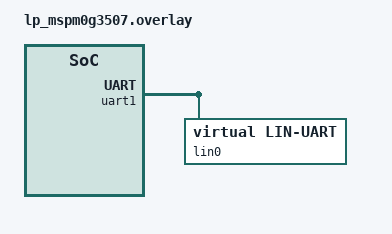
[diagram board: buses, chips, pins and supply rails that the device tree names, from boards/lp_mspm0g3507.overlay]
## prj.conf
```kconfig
CONFIG_SYS_CLOCK_TICKS_PER_SEC=1000

CONFIG_LIN=y

CONFIG_LOG=y
CONFIG_LOG_DEFAULT_LEVEL=3
CONFIG_LIN_LOG_LEVEL_DBG=y
CONFIG_LOG_MODE_IMMEDIATE=n
CONFIG_LOG_PROCESS_TRIGGER_THRESHOLD=0
CONFIG_LOG_PROCESS_THREAD_SLEEP_MS=100

CONFIG_UART_USE_RUNTIME_CONFIGURE=y
```

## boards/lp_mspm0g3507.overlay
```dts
&uart1 {
    lin0: lin0 {
        compatible = "virtual,lin-uart";
        status = "okay";
        bitrate = <19200>;
        max-wait-percent = <150>;
    };
};
```

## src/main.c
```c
#include <zephyr/kernel.h>
#include <zephyr/logging/log.h>
#include <zephyr/drivers/lin.h>
LOG_MODULE_REGISTER(main, CONFIG_LOG_DEFAULT_LEVEL);

// #define LIN1_NODE	DT_NODELABEL(lin0)

static const struct device *dev = DEVICE_DT_GET(DT_NODELABEL(lin0));

// static const struct device *dev = DEVICE_DT_GET(LIN1_NODE);
static struct k_sem lock;

static void print_msg(const struct lin_frame *msg) {
    LOG_INF("id=0x%x, checksum=%d, len=%d", msg->id, msg->type, msg->len);
    LOG_HEXDUMP_INF(msg->data, msg->len, "data=");
}

static int header_cb(const struct device *dev, struct lin_frame *msg, void *data) {
    switch (msg->id) {
        case 0x00:
            msg->type = LIN_CHECKSUM_ENHANCED;
            msg->len = 2;
            msg->data[0] = 0x69;
            msg->data[1] = 0x42;
            return LIN_ACTION_SEND;
            break;

        case 0x01:
            msg->type = LIN_CHECKSUM_AUTO;
            msg->len = 0;
            return LIN_ACTION_RECEIVE;
            break;
    }
    k_sem_give(&lock);
    return LIN_ACTION_NONE;
}

static void tx_cb(const struct device *dev, int error, void *data) {
    if (error) {
        LOG_ERR("tx error %d", error);
    } else {
        LOG_INF("tx done %p", data);
    }
    k_sem_give(&lock);
}

static void rx_cb(const struct device *dev, int error, const struct lin_frame *msg, void *data) {
    if (error) {
        LOG_ERR("rx error %d", error);
    } else {
        print_msg(msg);
    }
    k_sem_give(&lock);
}

int main() {
    // configure
    k_sem_init(&lock, 0, 1);
    // if (lin_set_bitrate(dev, 19200) ||
    //     lin_set_header_callback(dev, header_cb, NULL) ||
    //     lin_set_tx_callback(dev, tx_cb, NULL) ||
    //     lin_set_rx_callback(dev, rx_cb, NULL)) {
    //     LOG_ERR("failed to configure");
    // }

    if (lin_set_header_callback(dev, header_cb, NULL) ||
        lin_set_tx_callback(dev, tx_cb, NULL) ||
        lin_set_rx_callback(dev, rx_cb, NULL)) {
        LOG_ERR("failed to configure");
    }

    printf("Hello\n\n");

    // commander
    lin_set_mode(dev, LIN_MODE_COMMANDER);

    struct lin_frame msg = {
        .id = 0x00,
        .type = LIN_CHECKSUM_ENHANCED,
        .len = 2,
        .data = {0x69, 0x42},
    };
    lin_send(dev, &msg);
    k_sem_take(&lock, K_FOREVER);

    lin_receive(dev, 0x01, LIN_CHECKSUM_AUTO, 0);
    k_sem_take(&lock, K_FOREVER);

    // responder
    lin_set_mode(dev, LIN_MODE_RESPONDER);
}
```
